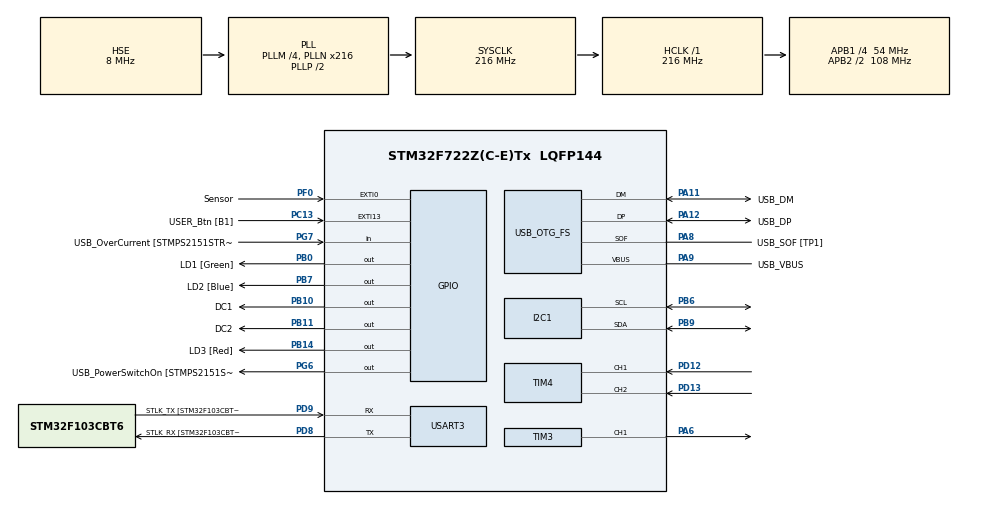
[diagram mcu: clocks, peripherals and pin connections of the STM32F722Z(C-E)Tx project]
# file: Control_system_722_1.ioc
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I2C1.Timing=0x20404768
Mcu.Family=STM32F7
Mcu.Name=STM32F722Z(C-E)Tx
Mcu.Package=LQFP144
NVIC.EXTI0_IRQn=true\:0\:0\:false\:false\:true\:true\:true
NVIC.EXTI15_10_IRQn=true\:0\:0\:false\:false\:true\:true\:true
NVIC.PriorityGroup=NVIC_PRIORITYGROUP_4
NVIC.TIM3_IRQn=true\:0\:0\:false\:false\:true\:true\:true
NVIC.TIM4_IRQn=true\:0\:0\:false\:false\:true\:true\:true
NVIC.TIM5_IRQn=true\:0\:0\:false\:false\:true\:true\:true
NVIC.USART3_IRQn=true\:0\:0\:false\:false\:true\:true\:true
PA10.GPIO_Label=USB_ID
PA10.Signal=USB_OTG_FS_ID
PA11.GPIO_Label=USB_DM
PA11.Mode=Device_Only
PA11.Signal=USB_OTG_FS_DM
PA12.GPIO_Label=USB_DP
PA12.Mode=Device_Only
PA12.Signal=USB_OTG_FS_DP
PA13.GPIO_Label=TMS
PA13.Mode=Serial_Wire
PA13.Signal=SYS_JTMS-SWDIO
PA14.GPIO_Label=TCK
PA14.Mode=Serial_Wire
PA14.Signal=SYS_JTCK-SWCLK
PA6.Signal=S_TIM3_CH1
PA8.GPIO_Label=USB_SOF [TP1]
PA8.Mode=Activate_SOF_FS
PA8.Signal=USB_OTG_FS_SOF
PA9.GPIO_Label=USB_VBUS
PA9.Mode=Activate_VBUS
PA9.Signal=USB_OTG_FS_VBUS
PB0.GPIO_Label=LD1 [Green]
PB0.Signal=GPIO_Output
PB10.GPIO_Label=DC1
PB10.Signal=GPIO_Output
PB11.GPIO_Label=DC2
PB11.Signal=GPIO_Output
PB14.GPIO_Label=LD3 [Red]
PB14.Signal=GPIO_Output
PB3.GPIO_Label=SWO
PB3.Signal=SYS_JTDO-SWO
PB6.Mode=I2C
PB6.Signal=I2C1_SCL
PB7.GPIO_Label=LD2 [Blue]
PB7.Signal=GPIO_Output
PB9.Mode=I2C
PB9.Signal=I2C1_SDA
PC13.GPIO_Label=USER_Btn [B1]
PC13.Signal=GPXTI13
PC14-OSC32_IN.Mode=LSE-External-Oscillator
PC14-OSC32_IN.Signal=RCC_OSC32_IN
PC15-OSC32_OUT.Mode=LSE-External-Oscillator
PC15-OSC32_OUT.Signal=RCC_OSC32_OUT
PD12.Signal=S_TIM4_CH1
PD13.Signal=S_TIM4_CH2
PD8.GPIO_Label=STLK_RX [STM32F103CBT6_PA3]
PD8.Mode=Asynchronous
PD8.Signal=USART3_TX
PD9.GPIO_Label=STLK_TX [STM32F103CBT6_PA2]
PD9.Mode=Asynchronous
PD9.Signal=USART3_RX
PF0.GPIO_Label=Sensor
PF0.Signal=GPXTI0
PG6.GPIO_Label=USB_PowerSwitchOn [STMPS2151STR_EN]
PG6.Signal=GPIO_Output
PG7.GPIO_Label=USB_OverCurrent [STMPS2151STR_FAULT]
PG7.Signal=GPIO_Input
PH0-OSC_IN.GPIO_Label=MCO
PH0-OSC_IN.Mode=HSE-External-Clock-Source
PH0-OSC_IN.Signal=RCC_OSC_IN
PH1-OSC_OUT.Mode=HSE-External-Clock-Source
PH1-OSC_OUT.Signal=RCC_OSC_OUT
ProjectManager.HeapSize=0x200
ProjectManager.StackSize=0x400
ProjectManager.TargetToolchain=STM32CubeIDE
RCC.48MHZClocksFreq_Value=24000000
RCC.AHBFreq_Value=216000000
RCC.APB1CLKDivider=RCC_HCLK_DIV4
RCC.APB1Freq_Value=54000000
RCC.APB1TimFreq_Value=108000000
RCC.APB2CLKDivider=RCC_HCLK_DIV2
RCC.APB2Freq_Value=108000000
RCC.APB2TimFreq_Value=216000000
RCC.CortexFreq_Value=216000000
RCC.HCLKFreq_Value=216000000
RCC.HSE_VALUE=8000000
RCC.HSI_VALUE=16000000
RCC.PLLM=4
RCC.PLLMUL=RCC_PLL_MUL9
RCC.PLLN=216
RCC.PLLQ=9
RCC.PRESCALERUSB=RCC_USBCLKSOURCE_PLL_DIV1_5
RCC.SYSCLKFreq_VALUE=216000000
RCC.SYSCLKSource=RCC_SYSCLKSOURCE_PLLCLK
RCC.SYSCLKSourceVirtual=RCC_SYSCLKSOURCE_PLLCLK
RCC.USBFreq_Value=48000000
RCC.VCOOutputFreq_Value=432000000
SH.S_TIM3_CH1.0=TIM3_CH1,PWM Generation1 CH1
SH.S_TIM4_CH1.0=TIM4_CH1,Encoder_Interface
SH.S_TIM4_CH2.0=TIM4_CH2,Encoder_Interface
TIM2.Channel-PWM\ Generation1\ CH1=TIM_CHANNEL_1
TIM2.Prescaler=108
TIM3.Channel-PWM\ Generation1\ CH1=TIM_CHANNEL_1
TIM3.Period=10000
TIM3.Prescaler=1
TIM4.EncoderMode=TIM_ENCODERMODE_TI12
TIM4.IC1Polarity=TIM_ICPOLARITY_FALLING
TIM5.Period=108000
TIM5.Prescaler=1000
USART3.VirtualMode-Asynchronous=VM_ASYNC
USB_OTG_FS.VirtualMode=Device_Only
VP_TIM2_VS_ClockSourceINT.Mode=Internal
VP_TIM3_VS_ClockSourceINT.Mode=Internal
VP_TIM5_VS_ClockSourceINT.Mode=Internal
board=NUCLEO-F722ZE

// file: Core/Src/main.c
/* USER CODE BEGIN Header */
/**
 ******************************************************************************
 * @file           : main.c
 * @brief          : Main program body
 ******************************************************************************
 * @attention
 *
 * <h2><center>&copy; Copyright (c) 2022 STMicroelectronics.
 * All rights reserved.</center></h2>
 *
 * This software component is licensed by ST under BSD 3-Clause license,
 * the "License"; You may not use this file except in compliance with the
 * License. You may obtain a copy of the License at:
 *                        opensource.org/licenses/BSD-3-Clause
 *
 ******************************************************************************
 */
/* USER CODE END Header */
#include "main.h"
#include "i2c.h"
#include "tim.h"
#include "usart.h"
#include "usb_otg.h"
#include "gpio.h"

/* USER CODE BEGIN Includes */
#include "lcd_i2c.h"
#include <stdbool.h>
#include <stdio.h>
/* USER CODE END Includes */

/* USER CODE BEGIN PD */
#define MAX_DUTY 9900
/* USER CODE END PD */

/* USER CODE BEGIN PV */
int16_t count;
struct lcd_disp disp;

float U_tmp;
float U, Y, E;

char buff[16];
int sampling_freq = 10;
float total_time;

float k_E=20;
float k_I=3;
float k_D = 1000;

int timer_val;
int time_elapsed;

float frequency;
float old_frequency;
float ratio_frequency=3;

float out_frequency; //output

float rot_freq;
float Duty_test, Duty_test_P, Duty_test_I,Duty_test_D;
float prev_E, prev_I;
float I;
float D;

int new_duty;

char msg_[32];
int status_len;

uint32_t encoder_counter = 0;
/* USER CODE END PV */

void SystemClock_Config(void);

/* USER CODE BEGIN 0 */
/*****************************************************************************************************
/* @brief configures printf for debugging
/* @author  Wojciech Piersiala
/* @param[in] file
/* @param[in] *ptr
/* @param[in] len
/* @return len
/* @version V1.0
/* @date    17-Feb-2022

/*****************************************************************************************************/
int _write(int file, char *ptr, int len)
{
	int i=0;
	for(i=0 ; i<len ; i++)
		ITM_SendChar((*ptr++));
	return len;
}
/* USER CODE END 0 */

int main(void)
{

	/* MCU Configuration--------------------------------------------------------*/

	/* Reset of all peripherals, Initializes the Flash interface and the Systick. */
	HAL_Init();

	/* Configure the system clock */
	SystemClock_Config();

	/* Initialize all configured peripherals */
	MX_GPIO_Init();
	MX_USART3_UART_Init();
	MX_USB_OTG_FS_PCD_Init();
	MX_TIM3_Init();
	MX_TIM4_Init();
	MX_TIM2_Init();
	MX_TIM5_Init();
	MX_I2C1_Init();
	/* USER CODE BEGIN 2 */

	//usart
	HAL_UART_Receive_IT(&huart3, &buff,3);

	// frequency measurement
	HAL_TIM_Base_Start(&htim2);

	// H bridge
	HAL_TIM_PWM_Start(&htim3, TIM_CHANNEL_1);
	__HAL_TIM_SET_COMPARE(&htim3, TIM_CHANNEL_1,50);
	HAL_GPIO_WritePin(DC1_GPIO_Port, DC1_Pin, GPIO_PIN_RESET);
	HAL_GPIO_WritePin(DC2_GPIO_Port, DC2_Pin, GPIO_PIN_SET);

	//encoder
	HAL_TIM_Encoder_Start_IT(&htim4, TIM_CHANNEL_ALL);

	//sampler

	int new_prescaler = htim5.Init.Prescaler/sampling_freq;
	HAL_TIM_Base_Start_IT(&htim5);
	__HAL_TIM_SET_PRESCALER(&htim5,new_prescaler);

	//LCD

	disp.addr = (0x3F << 1);
	disp.bl = true;
	lcd_init(&disp);

	char LCDdisplay1[17];
	char LCDdisplay2[17];

	/* USER CODE END 2 */

	/* Infinite loop */
	/* USER CODE BEGIN WHILE */
	while (1)
	{

		sprintf(LCDdisplay1, "U: %d rpm",(int)(U*60));
		sprintf(LCDdisplay2, "Y: %d rpm",(int)(Y*60));

		sprintf((char *)disp.f_line, LCDdisplay1);
		sprintf((char *)disp.s_line, LCDdisplay2);

		lcd_display(&disp);

		HAL_Delay(500);
		/* USER CODE END WHILE */

	}
}

void SystemClock_Config(void)
{
	RCC_OscInitTypeDef RCC_OscInitStruct = {0};
	RCC_ClkInitTypeDef RCC_ClkInitStruct = {0};
	RCC_PeriphCLKInitTypeDef PeriphClkInitStruct = {0};

	/** Configure LSE Drive Capability
	 */
	HAL_PWR_EnableBkUpAccess();
	/** Configure the main internal regulator output voltage
	 */
	__HAL_RCC_PWR_CLK_ENABLE();
	__HAL_PWR_VOLTAGESCALING_CONFIG(PWR_REGULATOR_VOLTAGE_SCALE1);
	/** Initializes the RCC Oscillators according to the specified parameters
	 * in the RCC_OscInitTypeDef structure.
	 */
	RCC_OscInitStruct.OscillatorType = RCC_OSCILLATORTYPE_HSE;
	RCC_OscInitStruct.HSEState = RCC_HSE_BYPASS;
	RCC_OscInitStruct.PLL.PLLState = RCC_PLL_ON;
	RCC_OscInitStruct.PLL.PLLSource = RCC_PLLSOURCE_HSE;
	RCC_OscInitStruct.PLL.PLLM = 4;
	RCC_OscInitStruct.PLL.PLLN = 216;
	RCC_OscInitStruct.PLL.PLLP = RCC_PLLP_DIV2;
	RCC_OscInitStruct.PLL.PLLQ = 9;
	if (HAL_RCC_OscConfig(&RCC_OscInitStruct) != HAL_OK)
	{
		Error_Handler();
	}
	/** Activate the Over-Drive mode
	 */
	if (HAL_PWREx_EnableOverDrive() != HAL_OK)
	{
		Error_Handler();
	}
	/** Initializes the CPU, AHB and APB buses clocks
	 */
	RCC_ClkInitStruct.ClockType = RCC_CLOCKTYPE_HCLK|RCC_CLOCKTYPE_SYSCLK
			|RCC_CLOCKTYPE_PCLK1|RCC_CLOCKTYPE_PCLK2;
	RCC_ClkInitStruct.SYSCLKSource = RCC_SYSCLKSOURCE_PLLCLK;
	RCC_ClkInitStruct.AHBCLKDivider = RCC_SYSCLK_DIV1;
	RCC_ClkInitStruct.APB1CLKDivider = RCC_HCLK_DIV4;
	RCC_ClkInitStruct.APB2CLKDivider = RCC_HCLK_DIV2;

	if (HAL_RCC_ClockConfig(&RCC_ClkInitStruct, FLASH_LATENCY_7) != HAL_OK)
	{
		Error_Handler();
	}
	PeriphClkInitStruct.PeriphClockSelection = RCC_PERIPHCLK_USART3|RCC_PERIPHCLK_I2C1
			|RCC_PERIPHCLK_CLK48;
	PeriphClkInitStruct.Usart3ClockSelection = RCC_USART3CLKSOURCE_PCLK1;
	PeriphClkInitStruct.I2c1ClockSelection = RCC_I2C1CLKSOURCE_PCLK1;
	PeriphClkInitStruct.Clk48ClockSelection = RCC_CLK48SOURCE_PLL;
	if (HAL_RCCEx_PeriphCLKConfig(&PeriphClkInitStruct) != HAL_OK)
	{
		Error_Handler();
	}
}

/* USER CODE BEGIN 4 */

/*****************************************************************************************************
/* @brief  GPIO external interupr callback (Implements interaface with IR sensor)
/* @author  Wojciech Piersiala
/* @param[in] GPIO_Pin GPIO Pin handler
/* @return None
/* @version V1.0
/* @date    17-Feb-2022

/*****************************************************************************************************/
void HAL_GPIO_EXTI_Callback(uint16_t GPIO_Pin){
	if(GPIO_Pin == USER_Btn_Pin){
		HAL_GPIO_TogglePin(DC1_GPIO_Port, DC1_Pin);
		HAL_GPIO_TogglePin(DC2_GPIO_Port, DC2_Pin);

	}
	if(GPIO_Pin == Sensor_Pin){
		timer_val=__HAL_TIM_GET_COUNTER(&htim2);

		if(timer_val>15000){
			time_elapsed=timer_val;
		}

		frequency = 1/(float)time_elapsed*1000000;
		__HAL_TIM_SET_COUNTER(&htim2,0);

		if(frequency>2){
			ratio_frequency=(frequency/old_frequency);
			old_frequency = frequency;
		}

		if(ratio_frequency<1.3){
			out_frequency = frequency;
		}
	}
}

/*****************************************************************************************************
 @brief  Timer IC callback(implements interface with rotary encoder)
 @author  Wojciech Piersiala
 @param[in] htim TIM handler
 @return None/* @version V1.0
 @date    17-Feb-2022

 *****************************************************************************************************/
void HAL_TIM_IC_CaptureCallback(TIM_HandleTypeDef *htim){
	encoder_counter=__HAL_TIM_GET_COUNTER(htim);
	count=((int16_t)encoder_counter)/4;

	if (count>30){
		count=30;
		encoder_counter=(uint32_t)(4*count);
		__HAL_TIM_SET_COUNTER(htim,encoder_counter);
	}else if(count<-30){
		count=-30;
		encoder_counter=(0xFFFFFFFF+4*count);
		__HAL_TIM_SET_COUNTER(htim,encoder_counter);

	}

}
/*****************************************************************************************************
 @brief   UART Callback(Serail communication interface to read and write the values)
 @author  Bhargav Malasani,Wojciech Piersiala
 @param[in] huart huart handler
 @return None
 @version V2.0
 @date    20-Feb-2022

/*****************************************************************************************************/
void HAL_UART_RxCpltCallback(UART_HandleTypeDef *huart){
	if(huart->Instance == USART3){
		HAL_UART_Receive_IT(&huart3, buff, 3);
		char inx0 =buff[0];

		switch(inx0){
		case ('S'):{
			int val0, val1, new_duty;
			val0 = (int)(buff[1]-'0');
			val1 = (int)(buff[2]-'0');
			new_duty=(val0*10+val1)*100;
			__HAL_TIM_SET_COMPARE(&htim3, TIM_CHANNEL_1,new_duty);

			break;
		}
		case ('U'):{
			int val0, val1, new_duty;
			val0 = (int)(buff[1]-'0');
			val1 = (int)(buff[2]-'0');
			U_tmp=val0*10+val1;
			count=0;   // count test
			break;
		}
		case ('R'):{
			char USARTdisp3[17];
			int len2;
			if(buff[2]=='Y'){

			len2=sprintf(USARTdisp3, "Y: %d rpm \n\r",(int)(Y*60));}

			if(buff[2]=='U'){

						len2=sprintf(USARTdisp3, "U: %d rpm \n\r",(int)(U*60));}

			if(buff[2]=='E'){

						len2=sprintf(USARTdisp3, "E: %d rpm \n\r",(int)((E)*60));}

			HAL_UART_Transmit(&huart3, &USARTdisp3, len2, 100);
			break;
		}
	}
}
}

/*****************************************************************************************************
 @brief  Time Callback (implements PID controll)
 @author  Wojciech Piersiala
 @param[in] htim tim handler
 @return None
 @version V1.0
 @date    18-Feb-2022

/**************************************************************************************************/
void HAL_TIM_PeriodElapsedCallback(TIM_HandleTypeDef *htim){
	if(htim->Instance==TIM5){
		rot_freq=out_frequency;
		total_time+=1/((float)sampling_freq);
		Y=rot_freq;
		U=U_tmp+count;
		if(U<0){
			U=0;
			count=0;
		}
		E=U-Y;

		//I
		I = prev_I+ E+prev_E;
		Duty_test_I=I*k_I;
		if(Duty_test_I<1){
			Duty_test_I=1;
		}
		else
			if(Duty_test_I>MAX_DUTY){
				Duty_test_I=MAX_DUTY;
				I=MAX_DUTY/k_I;
			}

		//P
		Duty_test_P=E*k_E;
		if(Duty_test_P<1){
			Duty_test_P=1;
		}
		else
			if(Duty_test_P>MAX_DUTY){
				Duty_test_P=MAX_DUTY;
			}

		//D
		D = (E-prev_E);
		Duty_test_D=k_D*D;
		if(Duty_test_D<-900){
			Duty_test_D=-900;
		}
		else
			if(Duty_test_D>MAX_DUTY){
				Duty_test_D=MAX_DUTY;
			}

		Duty_test=(int)(Duty_test_P+Duty_test_I+Duty_test_D);

		prev_E=E;
		prev_I=I;

		if(Duty_test<1){
			Duty_test=1;
		}
		else
			if(Duty_test>MAX_DUTY){
				Duty_test=MAX_DUTY;
			}

		__HAL_TIM_SET_COMPARE(&htim3, TIM_CHANNEL_1,Duty_test);
	}
	//	printf("%f %f\n\r",total_time,rot_freq);
}

/* USER CODE END 4 */

void Error_Handler(void)
{
	__disable_irq();
	while (1)
	{
	}
}

/************************ (C) COPYRIGHT STMicroelectronics *****END OF FILE****/
